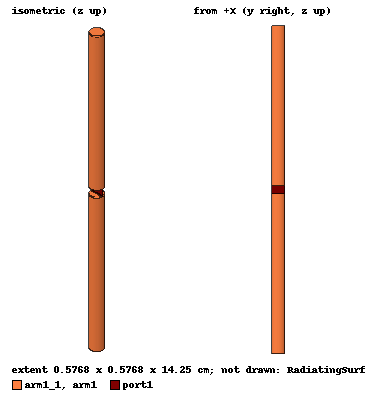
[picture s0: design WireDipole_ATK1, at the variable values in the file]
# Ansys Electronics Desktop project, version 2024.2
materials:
  vacuum: permittivity=1
  pec: conductivity=1e+30

design WireDipole_ATK1 (HFSS, HFSS Hybrid Terminal Network, model units cm)
options: Allow_Material_Override Save_Adaptive_support_files open_region{BoundaryType=0 OpFreq=0.9GHz}
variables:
  # --Antenna Dimensions
  dipole_length = 14.2483cm
  wire_rad = 0.2884cm
  port_gap = 0.3278cm
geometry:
  arm1 [pec] = cylinder(axis=Z, base_centre=(0cm, 0cm, port_gap/2), radius=wire_rad, height=dipole_length/2-port_gap/2)
  arm1_1 [pec] = arm1.duplicate_around_axis(axis=X, angle=180deg, total=2)
  port1 = rectangle(corner=(0cm, -wire_rad, -port_gap/2), y_size=wire_rad*2, z_size=port_gap)
  RadiatingSurface [vacuum] = region(absolute_offset=11.111111cm on all sides)
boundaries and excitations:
  AutoOpen1: Radiation Objects=RadiatingSurface
  port1_T1: Terminal port=1 Edges=port1.edge(at (0, 0, -0.1639)) TerminalResistance=50ohm
  1: Lumped Port Faces=port1.face LumpedPortType=Terminal Impedance=50ohm
  reference conductors: arm1
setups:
  ATK_Solution: HfssDriven Frequency=0.9GHz MaxDeltaS=0.02 MaximumPasses=15 MinimumPasses=1 MinimumConvergedPasses=1 PercentRefinement=30 BasisOrder=1 PortAccuracy=2 DrivenSolverType="Direct Solver" IESolverType=ACA
    sweep SParam_Sweep: 0.45GHz to 1.35GHz step 0.00225GHz; Type=Fast SaveFields
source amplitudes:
  1:1: 1V 0deg
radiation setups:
  3D: Infinite Sphere Theta=0deg..180deg step 2deg Phi=-180deg..180deg step 2deg
  Elevation: Infinite Sphere Theta=-180deg..180deg step 1deg Phi=0deg..90deg step 90deg
  Azimuth: Infinite Sphere Theta=90deg..90deg step 0deg Phi=-180deg..180deg step 1deg
  ATK_2D: Infinite Sphere Theta=-180deg..180deg step 1deg Phi=0deg..90deg step 90deg
  ATK_3D: Infinite Sphere Theta=-180deg..180deg step 2deg Phi=0deg..180deg step 5deg
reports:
  S11: dB(St11) vs Freq on ATK_Solution : SParam_Sweep
